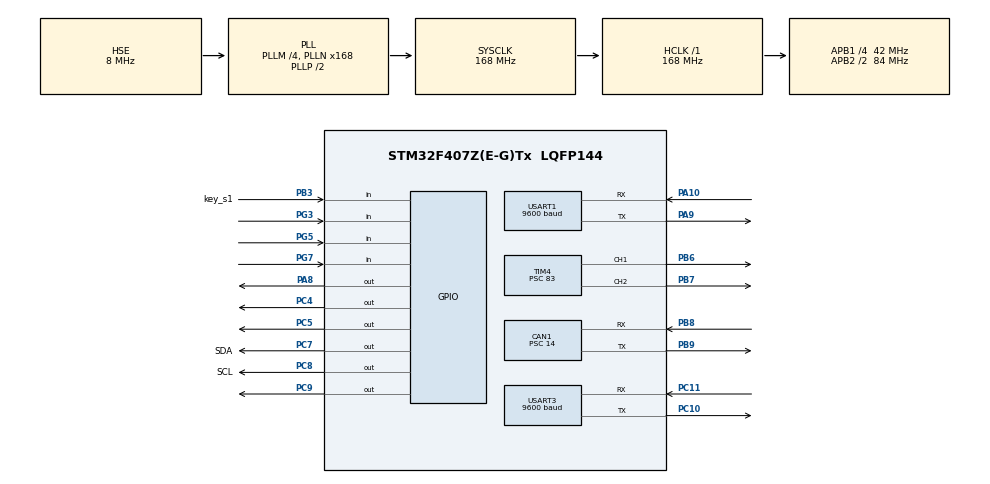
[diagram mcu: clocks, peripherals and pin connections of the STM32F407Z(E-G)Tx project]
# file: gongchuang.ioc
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CAN1.ABOM=ENABLE
CAN1.BS1=CAN_BS1_4TQ
CAN1.CalculateBaudRate=499999
CAN1.CalculateTimeBit=2000
CAN1.CalculateTimeQuantum=333.33333333333337
CAN1.Prescaler=14
Dma.Request0=USART3_RX
Dma.Request1=USART1_RX
Dma.USART1_RX.1.Direction=DMA_PERIPH_TO_MEMORY
Dma.USART1_RX.1.FIFOMode=DMA_FIFOMODE_DISABLE
Dma.USART1_RX.1.Instance=DMA2_Stream2
Dma.USART1_RX.1.MemDataAlignment=DMA_MDATAALIGN_BYTE
Dma.USART1_RX.1.MemInc=DMA_MINC_ENABLE
Dma.USART1_RX.1.Mode=DMA_NORMAL
Dma.USART1_RX.1.PeriphDataAlignment=DMA_PDATAALIGN_BYTE
Dma.USART1_RX.1.PeriphInc=DMA_PINC_DISABLE
Dma.USART1_RX.1.Priority=DMA_PRIORITY_VERY_HIGH
Dma.USART3_RX.0.Direction=DMA_PERIPH_TO_MEMORY
Dma.USART3_RX.0.FIFOMode=DMA_FIFOMODE_DISABLE
Dma.USART3_RX.0.Instance=DMA1_Stream1
Dma.USART3_RX.0.MemDataAlignment=DMA_MDATAALIGN_BYTE
Dma.USART3_RX.0.MemInc=DMA_MINC_ENABLE
Dma.USART3_RX.0.Mode=DMA_NORMAL
Dma.USART3_RX.0.PeriphDataAlignment=DMA_PDATAALIGN_BYTE
Dma.USART3_RX.0.PeriphInc=DMA_PINC_DISABLE
Dma.USART3_RX.0.Priority=DMA_PRIORITY_VERY_HIGH
Mcu.Family=STM32F4
Mcu.Name=STM32F407Z(E-G)Tx
Mcu.Package=LQFP144
NVIC.CAN1_RX0_IRQn=true\:0\:0\:false\:false\:true\:true\:true\:true
NVIC.DMA1_Stream1_IRQn=true\:0\:2\:true\:false\:true\:false\:true\:true
NVIC.DMA2_Stream2_IRQn=true\:0\:1\:false\:false\:true\:false\:true\:true
NVIC.PriorityGroup=NVIC_PRIORITYGROUP_2
NVIC.USART1_IRQn=true\:2\:2\:true\:false\:true\:true\:true\:true
NVIC.USART3_IRQn=true\:1\:1\:true\:false\:true\:true\:true\:true
PA10.Mode=Asynchronous
PA10.Signal=USART1_RX
PA13.Mode=Serial_Wire
PA13.Signal=SYS_JTMS-SWDIO
PA14.Mode=Serial_Wire
PA14.Signal=SYS_JTCK-SWCLK
PA8.GPIO_ModeDefaultOutputPP=GPIO_MODE_OUTPUT_PP
PA8.GPIO_Speed=GPIO_SPEED_FREQ_MEDIUM
PA8.Signal=GPIO_Output
PA9.Mode=Asynchronous
PA9.Signal=USART1_TX
PB3.GPIO_Label=key_s1
PB3.GPIO_PuPd=GPIO_PULLUP
PB3.Signal=GPIO_Input
PB6.Signal=S_TIM4_CH1
PB7.Signal=S_TIM4_CH2
PB8.Mode=CAN_Activate
PB8.Signal=CAN1_RX
PB9.Mode=CAN_Activate
PB9.Signal=CAN1_TX
PC10.Mode=Asynchronous
PC10.Signal=USART3_TX
PC11.Mode=Asynchronous
PC11.Signal=USART3_RX
PC14-OSC32_IN.Mode=LSE-External-Oscillator
PC14-OSC32_IN.Signal=RCC_OSC32_IN
PC15-OSC32_OUT.Mode=LSE-External-Oscillator
PC15-OSC32_OUT.Signal=RCC_OSC32_OUT
PC4.GPIO_ModeDefaultOutputPP=GPIO_MODE_OUTPUT_PP
PC4.GPIO_PuPd=GPIO_NOPULL
PC4.GPIO_Speed=GPIO_SPEED_FREQ_MEDIUM
PC4.PinState=GPIO_PIN_RESET
PC4.Signal=GPIO_Output
PC5.GPIO_PuPd=GPIO_NOPULL
PC5.GPIO_Speed=GPIO_SPEED_FREQ_MEDIUM
PC5.PinState=GPIO_PIN_RESET
PC5.Signal=GPIO_Output
PC7.GPIO_Label=SDA
PC7.GPIO_PuPd=GPIO_PULLUP
PC7.GPIO_Speed=GPIO_SPEED_FREQ_VERY_HIGH
PC7.PinState=GPIO_PIN_SET
PC7.Signal=GPIO_Output
PC8.GPIO_Label=SCL
PC8.GPIO_PuPd=GPIO_PULLUP
PC8.GPIO_Speed=GPIO_SPEED_FREQ_VERY_HIGH
PC8.PinState=GPIO_PIN_SET
PC8.Signal=GPIO_Output
PC9.GPIO_ModeDefaultOutputPP=GPIO_MODE_OUTPUT_PP
PC9.GPIO_PuPd=GPIO_NOPULL
PC9.GPIO_Speed=GPIO_SPEED_FREQ_MEDIUM
PC9.Signal=GPIO_Output
PG3.GPIO_PuPd=GPIO_PULLUP
PG3.Signal=GPIO_Input
PG5.GPIO_PuPd=GPIO_PULLUP
PG5.Signal=GPIO_Input
PG7.GPIO_PuPd=GPIO_PULLUP
PG7.Signal=GPIO_Input
PH0-OSC_IN.Mode=HSE-External-Oscillator
PH0-OSC_IN.Signal=RCC_OSC_IN
PH1-OSC_OUT.Mode=HSE-External-Oscillator
PH1-OSC_OUT.Signal=RCC_OSC_OUT
ProjectManager.HeapSize=0x200
ProjectManager.StackSize=0x400
ProjectManager.TargetToolchain=MDK-ARM V5.27
RCC.48MHZClocksFreq_Value=84000000
RCC.AHBFreq_Value=168000000
RCC.APB1CLKDivider=RCC_HCLK_DIV4
RCC.APB1Freq_Value=42000000
RCC.APB1TimFreq_Value=84000000
RCC.APB2CLKDivider=RCC_HCLK_DIV2
RCC.APB2Freq_Value=84000000
RCC.APB2TimFreq_Value=168000000
RCC.CortexFreq_Value=168000000
RCC.HCLKFreq_Value=168000000
RCC.HSE_VALUE=8000000
RCC.HSI_VALUE=16000000
RCC.PLLM=4
RCC.PLLN=168
RCC.PLLSourceVirtual=RCC_PLLSOURCE_HSE
RCC.SYSCLKFreq_VALUE=168000000
RCC.SYSCLKSource=RCC_SYSCLKSOURCE_PLLCLK
RCC.VCOOutputFreq_Value=336000000
SH.S_TIM4_CH1.0=TIM4_CH1,PWM Generation1 CH1
SH.S_TIM4_CH2.0=TIM4_CH2,PWM Generation2 CH2
TIM4.Channel-PWM\ Generation1\ CH1=TIM_CHANNEL_1
TIM4.Channel-PWM\ Generation2\ CH2=TIM_CHANNEL_2
TIM4.Period=1000
TIM4.Prescaler=83
USART1.BaudRate=9600
USART1.VirtualMode=VM_ASYNC
USART3.BaudRate=9600
USART3.VirtualMode=VM_ASYNC
VP_TIM4_VS_ClockSourceINT.Mode=Internal
board=custom

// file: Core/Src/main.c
/* USER CODE BEGIN Header */
/**
  ******************************************************************************
  * @file           : main.c
  * @brief          : Main program body
  ******************************************************************************
  * @attention
  *
  * Copyright (c) 2025 STMicroelectronics.
  * All rights reserved.
  *
  * This software is licensed under terms that can be found in the LICENSE file
  * in the root directory of this software component.
  * If no LICENSE file comes with this software, it is provided AS-IS.
  *
  ******************************************************************************
  */
/* USER CODE END Header */
#include "main.h"
#include "can.h"
#include "dma.h"
#include "tim.h"
#include "usart.h"
#include "gpio.h"

/* USER CODE BEGIN Includes */
#include "sys.h"
uint16_t strat_x=220;
uint16_t end_x=480;   //x_260
uint16_t start_y=125;
uint16_t end_y=390;   //y_265
float x_b=4.7;
float x_e=0.9;//3.8
float y_b=0;
float y_e=-3.5;//3.5
float x_count=4.5;
float y_count=4.5;

uint16_t n_0=0;//YH
uint16_t n_1=0;//KHS
uint16_t n_2=0;//CY
uint16_t n_3=0;//QT
uint16_t x1=1;

uint16_t angle_0=130;//nsz
uint16_t angle_1=130;//qian118(55)

uint16_t angle_2=120;//xiao:95-138
uint16_t angle_3=152;//shang60-140
uint16_t angle_4=250;//shun50-147

uint16_t angle_5=140;//shang125:160
uint16_t angle_6=125;//shang110:145
uint16_t angle_7=170;//shang150:189
uint16_t angle_8=70;//shang60:95

uint8_t cam_flag=0;
uint8_t hmi_flag=0;
/* USER CODE END Includes */

void SystemClock_Config(void);

int main(void)
{

  /* MCU Configuration--------------------------------------------------------*/

  /* Reset of all peripherals, Initializes the Flash interface and the Systick. */
  HAL_Init();

  /* Configure the system clock */
  SystemClock_Config();

  /* Initialize all configured peripherals */
  MX_GPIO_Init();
  MX_DMA_Init();
  MX_USART1_UART_Init();
  MX_USART3_UART_Init();
  MX_TIM4_Init();
  MX_CAN1_Init();
  /* USER CODE BEGIN 2 */

	MOTOR_Init();
	PCA9685_Init(50,0);
	for_delay_ms(500);
	usart_rx(3);

	printf("n4.val=%d\xFF\xFF\xFF",1);
	UART3_SendString("FSSJ");

//	Emm_V5_Pos_Control(2, 0, 50, 0, 3200, 0, 1);
//	HAL_Delay(10);
//	Emm_V5_Pos_Control(1, 0, 50, 0, 3200, 0, 1);
//	HAL_Delay(10);
//	Emm_V5_Synchronous_motion(0);
//	while(can.rxFrameFlag == false){};
//	can.rxFrameFlag = false;
//	move(1,1);

  /* USER CODE END 2 */

  /* Infinite loop */
  /* USER CODE BEGIN WHILE */
  while (1)
  {

	  ///////_fianl_///////
//	  htim4.Instance->CCR2 = 70;
//	  control(2,0);
//	  control(0,100);
//	  for_delay_ms(500);
//	  while(1)
//	  {
//		control(0,1);
//	  }
	  ///////_fianl_///////

	  ///////_begin_///////
	  control(2,0);
	  control(0,100);
	  while(1)
	  {

		  initial();

	  }
	  ///////_begin_///////

    /* USER CODE END WHILE */

  }
}

void SystemClock_Config(void)
{
  RCC_OscInitTypeDef RCC_OscInitStruct = {0};
  RCC_ClkInitTypeDef RCC_ClkInitStruct = {0};

  /** Configure the main internal regulator output voltage
  */
  __HAL_RCC_PWR_CLK_ENABLE();
  __HAL_PWR_VOLTAGESCALING_CONFIG(PWR_REGULATOR_VOLTAGE_SCALE1);

  /** Initializes the RCC Oscillators according to the specified parameters
  * in the RCC_OscInitTypeDef structure.
  */
  RCC_OscInitStruct.OscillatorType = RCC_OSCILLATORTYPE_HSE;
  RCC_OscInitStruct.HSEState = RCC_HSE_ON;
  RCC_OscInitStruct.PLL.PLLState = RCC_PLL_ON;
  RCC_OscInitStruct.PLL.PLLSource = RCC_PLLSOURCE_HSE;
  RCC_OscInitStruct.PLL.PLLM = 4;
  RCC_OscInitStruct.PLL.PLLN = 168;
  RCC_OscInitStruct.PLL.PLLP = RCC_PLLP_DIV2;
  RCC_OscInitStruct.PLL.PLLQ = 4;
  if (HAL_RCC_OscConfig(&RCC_OscInitStruct) != HAL_OK)
  {
    Error_Handler();
  }

  /** Initializes the CPU, AHB and APB buses clocks
  */
  RCC_ClkInitStruct.ClockType = RCC_CLOCKTYPE_HCLK|RCC_CLOCKTYPE_SYSCLK
                              |RCC_CLOCKTYPE_PCLK1|RCC_CLOCKTYPE_PCLK2;
  RCC_ClkInitStruct.SYSCLKSource = RCC_SYSCLKSOURCE_PLLCLK;
  RCC_ClkInitStruct.AHBCLKDivider = RCC_SYSCLK_DIV1;
  RCC_ClkInitStruct.APB1CLKDivider = RCC_HCLK_DIV4;
  RCC_ClkInitStruct.APB2CLKDivider = RCC_HCLK_DIV2;

  if (HAL_RCC_ClockConfig(&RCC_ClkInitStruct, FLASH_LATENCY_5) != HAL_OK)
  {
    Error_Handler();
  }
}

void Error_Handler(void)
{
  __disable_irq();
  while (1)
  {
  }
}
